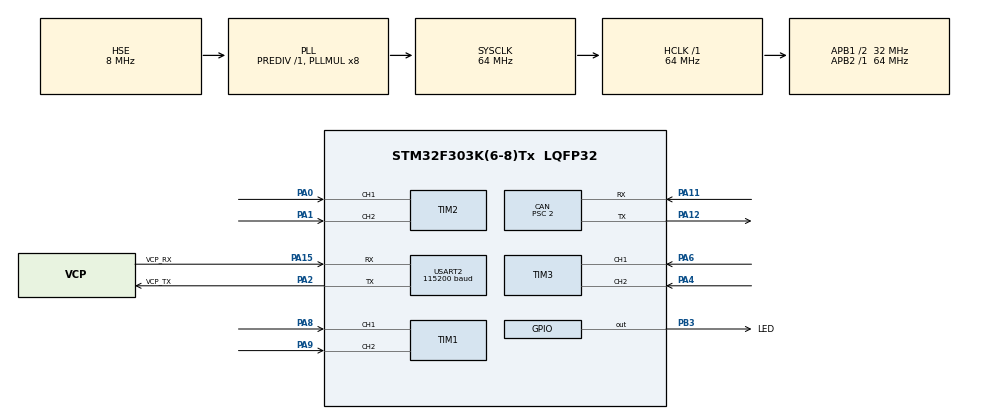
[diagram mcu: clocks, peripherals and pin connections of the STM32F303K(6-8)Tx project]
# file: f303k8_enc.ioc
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CAN.BS1=CAN_BS1_8TQ
CAN.BS2=CAN_BS2_7TQ
CAN.CalculateTimeQuantum=62.5
CAN.Prescaler=2
Mcu.Family=STM32F3
Mcu.Name=STM32F303K(6-8)Tx
Mcu.Package=LQFP32
NVIC.PriorityGroup=NVIC_PRIORITYGROUP_4
NVIC.TIM1_UP_TIM16_IRQn=true\:0\:0\:false\:false\:true\:true\:true
PA0.Signal=S_TIM2_CH1_ETR
PA1.Signal=S_TIM2_CH2
PA11.Mode=Master
PA11.Signal=CAN_RX
PA12.Mode=Master
PA12.Signal=CAN_TX
PA13.GPIO_Label=SWDIO
PA13.Mode=Serial_Wire
PA13.Signal=SYS_JTMS-SWDIO
PA14.GPIO_Label=SWCLK
PA14.Mode=Serial_Wire
PA14.Signal=SYS_JTCK-SWCLK
PA15.GPIO_Label=VCP_RX
PA15.Mode=Asynchronous
PA15.Signal=USART2_RX
PA2.GPIO_Label=VCP_TX
PA2.Mode=Asynchronous
PA2.Signal=USART2_TX
PA4.Signal=S_TIM3_CH2
PA6.Signal=S_TIM3_CH1
PA8.Signal=S_TIM1_CH1
PA9.Signal=S_TIM1_CH2
PB3.GPIO_Label=LED
PB3.Signal=GPIO_Output
PF0\ /\ OSC_IN.GPIO_Label=MCO
PF0\ /\ OSC_IN.Mode=HSE-External-Clock-Source
PF0\ /\ OSC_IN.Signal=RCC_OSC_IN
ProjectManager.HeapSize=0x200
ProjectManager.StackSize=0x400
ProjectManager.TargetToolchain=STM32CubeIDE
RCC.AHBFreq_Value=64000000
RCC.APB1CLKDivider=RCC_HCLK_DIV2
RCC.APB1Freq_Value=32000000
RCC.APB1TimFreq_Value=64000000
RCC.APB2Freq_Value=64000000
RCC.APB2TimFreq_Value=64000000
RCC.CortexFreq_Value=64000000
RCC.HCLKFreq_Value=64000000
RCC.HSE_VALUE=8000000
RCC.HSI_VALUE=8000000
RCC.PLLMUL=RCC_PLL_MUL8
RCC.PLLSourceVirtual=RCC_PLLSOURCE_HSE
RCC.SYSCLKFreq_VALUE=64000000
RCC.SYSCLKSourceVirtual=RCC_SYSCLKSOURCE_PLLCLK
SH.S_TIM1_CH1.0=TIM1_CH1,Encoder_Interface
SH.S_TIM1_CH2.0=TIM1_CH2,Encoder_Interface
SH.S_TIM2_CH1_ETR.0=TIM2_CH1,Encoder_Interface
SH.S_TIM2_CH2.0=TIM2_CH2,Encoder_Interface
SH.S_TIM3_CH1.0=TIM3_CH1,Encoder_Interface
SH.S_TIM3_CH2.0=TIM3_CH2,Encoder_Interface
TIM16.Period=7200
TIM16.Prescaler=99
USART2.BaudRate=115200
USART2.VirtualMode-Asynchronous=VM_ASYNC
VP_TIM16_VS_ClockSourceINT.Mode=Enable_Timer
board=NUCLEO-F303K8

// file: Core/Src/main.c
/* USER CODE BEGIN Header */
/**
 ******************************************************************************
 * @file           : main.c
 * @brief          : Main program body
 ******************************************************************************
 * @attention
 *
 * <h2><center>&copy; Copyright (c) 2021 STMicroelectronics.
 * All rights reserved.</center></h2>
 *
 * This software component is licensed by ST under BSD 3-Clause license,
 * the "License"; You may not use this file except in compliance with the
 * License. You may obtain a copy of the License at:
 *                        opensource.org/licenses/BSD-3-Clause
 *
 ******************************************************************************
 */
/* USER CODE END Header */
#include "main.h"

/* USER CODE BEGIN Includes */
#include "xprintf.h"
/* USER CODE END Includes */

CAN_HandleTypeDef hcan;

TIM_HandleTypeDef htim1;
TIM_HandleTypeDef htim2;
TIM_HandleTypeDef htim3;
TIM_HandleTypeDef htim16;

UART_HandleTypeDef huart2;

void SystemClock_Config(void);
static void MX_GPIO_Init(void);
static void MX_USART2_UART_Init(void);
static void MX_TIM1_Init(void);
static void MX_TIM2_Init(void);
static void MX_TIM3_Init(void);
static void MX_TIM16_Init(void);
static void MX_CAN_Init(void);

/* USER CODE BEGIN 0 */
void uart_putc(uint8_t c) {
	char buf[1];
	buf[0] = c;
	HAL_UART_Transmit(&huart2, (uint8_t*) buf, sizeof(buf), 0xFFFF);
}
TIM_Encoder_InitTypeDef sConfig1 = { 0 };
TIM_Encoder_InitTypeDef sConfig2 = { 0 };
TIM_Encoder_InitTypeDef sConfig3 = { 0 };
TIM_MasterConfigTypeDef sMasterConfig1 = { 0 };
TIM_MasterConfigTypeDef sMasterConfig2 = { 0 };
TIM_MasterConfigTypeDef sMasterConfig3 = { 0 };
int32_t rpm[3] = { 0 };
void Count2rpm() {
	rpm[0] = TIM1->CNT - 30000;
	rpm[1] = TIM2->CNT - 30000;
	rpm[2] = TIM3->CNT - 30000;
	TIM1->CNT = 30000;
	TIM2->CNT = 30000;
	TIM3->CNT = 30000;
}

//can
CAN_TxHeaderTypeDef TxHeader;
int8_t TxData[8];
uint32_t TxMailbox;
uint8_t cnt;

/* USER CODE END 0 */

int main(void)
{
  /* USER CODE BEGIN 1 */
	xdev_out(uart_putc);

  /* USER CODE END 1 */

  /* MCU Configuration--------------------------------------------------------*/

  /* Reset of all peripherals, Initializes the Flash interface and the Systick. */
  HAL_Init();

  /* Configure the system clock */
  SystemClock_Config();

  /* Initialize all configured peripherals */
  MX_GPIO_Init();
  MX_USART2_UART_Init();
  MX_TIM1_Init();
  MX_TIM2_Init();
  MX_TIM3_Init();
  MX_TIM16_Init();
  MX_CAN_Init();
  /* USER CODE BEGIN 2 */
	if (HAL_TIM_Encoder_Init(&htim1, &sConfig1) != HAL_OK) {
		Error_Handler();
	}
	HAL_TIM_Encoder_Start(&htim1, TIM_CHANNEL_ALL);
	TIM1->CNT = 30000;
	if (HAL_TIM_Encoder_Init(&htim2, &sConfig2) != HAL_OK) {
		Error_Handler();
	}
	HAL_TIM_Encoder_Start(&htim2, TIM_CHANNEL_ALL);
	TIM2->CNT = 30000;
	if (HAL_TIM_Encoder_Init(&htim3, &sConfig3) != HAL_OK) {
		Error_Handler();
	}
	HAL_TIM_Encoder_Start(&htim3, TIM_CHANNEL_ALL);
	TIM3->CNT = 30000;
	HAL_TIM_Base_Start_IT(&htim16);

	//can
	HAL_CAN_Start(&hcan);
	TxHeader.StdId = 0x301;
	TxHeader.RTR = CAN_RTR_DATA;
	TxHeader.IDE = CAN_ID_STD;
	TxHeader.DLC = 8;
	TxHeader.TransmitGlobalTime = DISABLE;

  /* USER CODE END 2 */

  /* Infinite loop */
  /* USER CODE BEGIN WHILE */
	while (1) {
		HAL_GPIO_TogglePin(LED_GPIO_Port, LED_Pin);
		xprintf("%d\t,%d\t,%d\t", rpm[0], rpm[1], rpm[2]);

		//can
		TxData[0] = (rpm[0]+512) & 0xFF;
//		TxData[1] = ((rpm[0]+512) >> 8) + (((rpm[1]+512) << 2) & 0xFC);
//		TxData[2] = ((rpm[1]+512) >> 6) + (((rpm[2]+512) << 4) & 0xF0);
//		TxData[3] = (rpm[2]+512) >> 4;
//		TxData[4] = 0;
//		TxData[5] = 0;
//		TxData[6] = 0;
//		TxData[7] = 10;
//
//		if (HAL_CAN_AddTxMessage(&hcan, &TxHeader, TxData, &TxMailbox)!= HAL_OK) {
//			xprintf("Can out failure!!\r\n");
//			Error_Handler();
//		} else {
//			xprintf("Can out success!!\r\n");
//		}
		HAL_Delay(10);
    /* USER CODE END WHILE */

	}
}

void SystemClock_Config(void)
{
  RCC_OscInitTypeDef RCC_OscInitStruct = {0};
  RCC_ClkInitTypeDef RCC_ClkInitStruct = {0};
  RCC_PeriphCLKInitTypeDef PeriphClkInit = {0};

  /** Initializes the RCC Oscillators according to the specified parameters
  * in the RCC_OscInitTypeDef structure.
  */
  RCC_OscInitStruct.OscillatorType = RCC_OSCILLATORTYPE_HSE;
  RCC_OscInitStruct.HSEState = RCC_HSE_BYPASS;
  RCC_OscInitStruct.HSEPredivValue = RCC_HSE_PREDIV_DIV1;
  RCC_OscInitStruct.HSIState = RCC_HSI_ON;
  RCC_OscInitStruct.PLL.PLLState = RCC_PLL_ON;
  RCC_OscInitStruct.PLL.PLLSource = RCC_PLLSOURCE_HSE;
  RCC_OscInitStruct.PLL.PLLMUL = RCC_PLL_MUL8;
  if (HAL_RCC_OscConfig(&RCC_OscInitStruct) != HAL_OK)
  {
    Error_Handler();
  }
  /** Initializes the CPU, AHB and APB buses clocks
  */
  RCC_ClkInitStruct.ClockType = RCC_CLOCKTYPE_HCLK|RCC_CLOCKTYPE_SYSCLK
                              |RCC_CLOCKTYPE_PCLK1|RCC_CLOCKTYPE_PCLK2;
  RCC_ClkInitStruct.SYSCLKSource = RCC_SYSCLKSOURCE_PLLCLK;
  RCC_ClkInitStruct.AHBCLKDivider = RCC_SYSCLK_DIV1;
  RCC_ClkInitStruct.APB1CLKDivider = RCC_HCLK_DIV2;
  RCC_ClkInitStruct.APB2CLKDivider = RCC_HCLK_DIV1;

  if (HAL_RCC_ClockConfig(&RCC_ClkInitStruct, FLASH_LATENCY_2) != HAL_OK)
  {
    Error_Handler();
  }
  PeriphClkInit.PeriphClockSelection = RCC_PERIPHCLK_TIM1;
  PeriphClkInit.Tim1ClockSelection = RCC_TIM1CLK_HCLK;
  if (HAL_RCCEx_PeriphCLKConfig(&PeriphClkInit) != HAL_OK)
  {
    Error_Handler();
  }
}

static void MX_CAN_Init(void)
{

  hcan.Instance = CAN;
  hcan.Init.Prescaler = 2;
  hcan.Init.Mode = CAN_MODE_NORMAL;
  hcan.Init.SyncJumpWidth = CAN_SJW_1TQ;
  hcan.Init.TimeSeg1 = CAN_BS1_8TQ;
  hcan.Init.TimeSeg2 = CAN_BS2_7TQ;
  hcan.Init.TimeTriggeredMode = DISABLE;
  hcan.Init.AutoBusOff = DISABLE;
  hcan.Init.AutoWakeUp = DISABLE;
  hcan.Init.AutoRetransmission = DISABLE;
  hcan.Init.ReceiveFifoLocked = DISABLE;
  hcan.Init.TransmitFifoPriority = DISABLE;
  if (HAL_CAN_Init(&hcan) != HAL_OK)
  {
    Error_Handler();
  }

}

static void MX_TIM1_Init(void)
{

  TIM_Encoder_InitTypeDef sConfig = {0};
  TIM_MasterConfigTypeDef sMasterConfig = {0};

  /* USER CODE BEGIN TIM1_Init 1 */
	htim1.Instance = TIM1;
	htim1.Init.Prescaler = 0;
	htim1.Init.CounterMode = TIM_COUNTERMODE_UP;
	htim1.Init.Period = 65535;
	htim1.Init.ClockDivision = TIM_CLOCKDIVISION_DIV1;
	htim1.Init.RepetitionCounter = 0;
	htim1.Init.AutoReloadPreload = TIM_AUTORELOAD_PRELOAD_DISABLE;
	sConfig1.EncoderMode = TIM_ENCODERMODE_TI1;
	sConfig1.IC1Polarity = TIM_ICPOLARITY_RISING;
	sConfig1.IC1Selection = TIM_ICSELECTION_DIRECTTI;
	sConfig1.IC1Prescaler = TIM_ICPSC_DIV1;
	sConfig1.IC1Filter = 0;
	sConfig1.IC2Polarity = TIM_ICPOLARITY_RISING;
	sConfig1.IC2Selection = TIM_ICSELECTION_DIRECTTI;
	sConfig1.IC2Prescaler = TIM_ICPSC_DIV1;
	sConfig1.IC2Filter = 0;
	if (HAL_TIM_Encoder_Init(&htim1, &sConfig1) != HAL_OK) {
		Error_Handler();
	}
	sMasterConfig1.MasterOutputTrigger = TIM_TRGO_RESET;
	sMasterConfig1.MasterOutputTrigger2 = TIM_TRGO2_RESET;
	sMasterConfig1.MasterSlaveMode = TIM_MASTERSLAVEMODE_DISABLE;
	if (HAL_TIMEx_MasterConfigSynchronization(&htim1, &sMasterConfig1)
			!= HAL_OK) {
		Error_Handler();
	}

  /* USER CODE END TIM1_Init 1 */
  htim1.Instance = TIM1;
  htim1.Init.Prescaler = 0;
  htim1.Init.CounterMode = TIM_COUNTERMODE_UP;
  htim1.Init.Period = 65535;
  htim1.Init.ClockDivision = TIM_CLOCKDIVISION_DIV1;
  htim1.Init.RepetitionCounter = 0;
  htim1.Init.AutoReloadPreload = TIM_AUTORELOAD_PRELOAD_DISABLE;
  sConfig.EncoderMode = TIM_ENCODERMODE_TI1;
  sConfig.IC1Polarity = TIM_ICPOLARITY_RISING;
  sConfig.IC1Selection = TIM_ICSELECTION_DIRECTTI;
  sConfig.IC1Prescaler = TIM_ICPSC_DIV1;
  sConfig.IC1Filter = 0;
  sConfig.IC2Polarity = TIM_ICPOLARITY_RISING;
  sConfig.IC2Selection = TIM_ICSELECTION_DIRECTTI;
  sConfig.IC2Prescaler = TIM_ICPSC_DIV1;
  sConfig.IC2Filter = 0;
  if (HAL_TIM_Encoder_Init(&htim1, &sConfig) != HAL_OK)
  {
    Error_Handler();
  }
  sMasterConfig.MasterOutputTrigger = TIM_TRGO_RESET;
  sMasterConfig.MasterOutputTrigger2 = TIM_TRGO2_RESET;
  sMasterConfig.MasterSlaveMode = TIM_MASTERSLAVEMODE_DISABLE;
  if (HAL_TIMEx_MasterConfigSynchronization(&htim1, &sMasterConfig) != HAL_OK)
  {
    Error_Handler();
  }

}

static void MX_TIM2_Init(void)
{

  TIM_Encoder_InitTypeDef sConfig = {0};
  TIM_MasterConfigTypeDef sMasterConfig = {0};

  /* USER CODE BEGIN TIM2_Init 1 */
	htim2.Instance = TIM2;
	htim2.Init.Prescaler = 0;
	htim2.Init.CounterMode = TIM_COUNTERMODE_UP;
	htim2.Init.Period = 4294967295;
	htim2.Init.ClockDivision = TIM_CLOCKDIVISION_DIV1;
	htim2.Init.AutoReloadPreload = TIM_AUTORELOAD_PRELOAD_DISABLE;
	sConfig2.EncoderMode = TIM_ENCODERMODE_TI1;
	sConfig2.IC1Polarity = TIM_ICPOLARITY_RISING;
	sConfig2.IC1Selection = TIM_ICSELECTION_DIRECTTI;
	sConfig2.IC1Prescaler = TIM_ICPSC_DIV1;
	sConfig2.IC1Filter = 0;
	sConfig2.IC2Polarity = TIM_ICPOLARITY_RISING;
	sConfig2.IC2Selection = TIM_ICSELECTION_DIRECTTI;
	sConfig2.IC2Prescaler = TIM_ICPSC_DIV1;
	sConfig2.IC2Filter = 0;
	if (HAL_TIM_Encoder_Init(&htim2, &sConfig2) != HAL_OK) {
		Error_Handler();
	}
	sMasterConfig2.MasterOutputTrigger = TIM_TRGO_RESET;
	sMasterConfig2.MasterSlaveMode = TIM_MASTERSLAVEMODE_DISABLE;
	if (HAL_TIMEx_MasterConfigSynchronization(&htim2, &sMasterConfig2)
			!= HAL_OK) {
		Error_Handler();
	}

  /* USER CODE END TIM2_Init 1 */
  htim2.Instance = TIM2;
  htim2.Init.Prescaler = 0;
  htim2.Init.CounterMode = TIM_COUNTERMODE_UP;
  htim2.Init.Period = 4294967295;
  htim2.Init.ClockDivision = TIM_CLOCKDIVISION_DIV1;
  htim2.Init.AutoReloadPreload = TIM_AUTORELOAD_PRELOAD_DISABLE;
  sConfig.EncoderMode = TIM_ENCODERMODE_TI1;
  sConfig.IC1Polarity = TIM_ICPOLARITY_RISING;
  sConfig.IC1Selection = TIM_ICSELECTION_DIRECTTI;
  sConfig.IC1Prescaler = TIM_ICPSC_DIV1;
  sConfig.IC1Filter = 0;
  sConfig.IC2Polarity = TIM_ICPOLARITY_RISING;
  sConfig.IC2Selection = TIM_ICSELECTION_DIRECTTI;
  sConfig.IC2Prescaler = TIM_ICPSC_DIV1;
  sConfig.IC2Filter = 0;
  if (HAL_TIM_Encoder_Init(&htim2, &sConfig) != HAL_OK)
  {
    Error_Handler();
  }
  sMasterConfig.MasterOutputTrigger = TIM_TRGO_RESET;
  sMasterConfig.MasterSlaveMode = TIM_MASTERSLAVEMODE_DISABLE;
  if (HAL_TIMEx_MasterConfigSynchronization(&htim2, &sMasterConfig) != HAL_OK)
  {
    Error_Handler();
  }

}

static void MX_TIM3_Init(void)
{

  TIM_Encoder_InitTypeDef sConfig = {0};
  TIM_MasterConfigTypeDef sMasterConfig = {0};

  /* USER CODE BEGIN TIM3_Init 1 */

	htim3.Instance = TIM3;
	htim3.Init.Prescaler = 0;
	htim3.Init.CounterMode = TIM_COUNTERMODE_UP;
	htim3.Init.Period = 65535;
	htim3.Init.ClockDivision = TIM_CLOCKDIVISION_DIV1;
	htim3.Init.AutoReloadPreload = TIM_AUTORELOAD_PRELOAD_DISABLE;
	sConfig3.EncoderMode = TIM_ENCODERMODE_TI1;
	sConfig3.IC1Polarity = TIM_ICPOLARITY_RISING;
	sConfig3.IC1Selection = TIM_ICSELECTION_DIRECTTI;
	sConfig3.IC1Prescaler = TIM_ICPSC_DIV1;
	sConfig3.IC1Filter = 0;
	sConfig3.IC2Polarity = TIM_ICPOLARITY_RISING;
	sConfig3.IC2Selection = TIM_ICSELECTION_DIRECTTI;
	sConfig3.IC2Prescaler = TIM_ICPSC_DIV1;
	sConfig3.IC2Filter = 0;
	if (HAL_TIM_Encoder_Init(&htim3, &sConfig3) != HAL_OK) {
		Error_Handler();
	}
	sMasterConfig3.MasterOutputTrigger = TIM_TRGO_RESET;
	sMasterConfig3.MasterSlaveMode = TIM_MASTERSLAVEMODE_DISABLE;
	if (HAL_TIMEx_MasterConfigSynchronization(&htim3, &sMasterConfig3)
			!= HAL_OK) {
		Error_Handler();
	}
  /* USER CODE END TIM3_Init 1 */
  htim3.Instance = TIM3;
  htim3.Init.Prescaler = 0;
  htim3.Init.CounterMode = TIM_COUNTERMODE_UP;
  htim3.Init.Period = 65535;
  htim3.Init.ClockDivision = TIM_CLOCKDIVISION_DIV1;
  htim3.Init.AutoReloadPreload = TIM_AUTORELOAD_PRELOAD_DISABLE;
  sConfig.EncoderMode = TIM_ENCODERMODE_TI1;
  sConfig.IC1Polarity = TIM_ICPOLARITY_RISING;
  sConfig.IC1Selection = TIM_ICSELECTION_DIRECTTI;
  sConfig.IC1Prescaler = TIM_ICPSC_DIV1;
  sConfig.IC1Filter = 0;
  sConfig.IC2Polarity = TIM_ICPOLARITY_RISING;
  sConfig.IC2Selection = TIM_ICSELECTION_DIRECTTI;
  sConfig.IC2Prescaler = TIM_ICPSC_DIV1;
  sConfig.IC2Filter = 0;
  if (HAL_TIM_Encoder_Init(&htim3, &sConfig) != HAL_OK)
  {
    Error_Handler();
  }
  sMasterConfig.MasterOutputTrigger = TIM_TRGO_RESET;
  sMasterConfig.MasterSlaveMode = TIM_MASTERSLAVEMODE_DISABLE;
  if (HAL_TIMEx_MasterConfigSynchronization(&htim3, &sMasterConfig) != HAL_OK)
  {
    Error_Handler();
  }

}

static void MX_TIM16_Init(void)
{

  htim16.Instance = TIM16;
  htim16.Init.Prescaler = 99;
  htim16.Init.CounterMode = TIM_COUNTERMODE_UP;
  htim16.Init.Period = 7200;
  htim16.Init.ClockDivision = TIM_CLOCKDIVISION_DIV1;
  htim16.Init.RepetitionCounter = 0;
  htim16.Init.AutoReloadPreload = TIM_AUTORELOAD_PRELOAD_DISABLE;
  if (HAL_TIM_Base_Init(&htim16) != HAL_OK)
  {
    Error_Handler();
  }

}

static void MX_USART2_UART_Init(void)
{

  huart2.Instance = USART2;
  huart2.Init.BaudRate = 115200;
  huart2.Init.WordLength = UART_WORDLENGTH_8B;
  huart2.Init.StopBits = UART_STOPBITS_1;
  huart2.Init.Parity = UART_PARITY_NONE;
  huart2.Init.Mode = UART_MODE_TX_RX;
  huart2.Init.HwFlowCtl = UART_HWCONTROL_NONE;
  huart2.Init.OverSampling = UART_OVERSAMPLING_16;
  huart2.Init.OneBitSampling = UART_ONE_BIT_SAMPLE_DISABLE;
  huart2.AdvancedInit.AdvFeatureInit = UART_ADVFEATURE_NO_INIT;
  if (HAL_UART_Init(&huart2) != HAL_OK)
  {
    Error_Handler();
  }

}

static void MX_GPIO_Init(void)
{
  GPIO_InitTypeDef GPIO_InitStruct = {0};

  /* GPIO Ports Clock Enable */
  __HAL_RCC_GPIOF_CLK_ENABLE();
  __HAL_RCC_GPIOA_CLK_ENABLE();
  __HAL_RCC_GPIOB_CLK_ENABLE();

  /*Configure GPIO pin Output Level */
  HAL_GPIO_WritePin(LED_GPIO_Port, LED_Pin, GPIO_PIN_RESET);

  /*Configure GPIO pin : LED_Pin */
  GPIO_InitStruct.Pin = LED_Pin;
  GPIO_InitStruct.Mode = GPIO_MODE_OUTPUT_PP;
  GPIO_InitStruct.Pull = GPIO_NOPULL;
  GPIO_InitStruct.Speed = GPIO_SPEED_FREQ_LOW;
  HAL_GPIO_Init(LED_GPIO_Port, &GPIO_InitStruct);

}

void Error_Handler(void)
{
}

/************************ (C) COPYRIGHT STMicroelectronics *****END OF FILE****/
